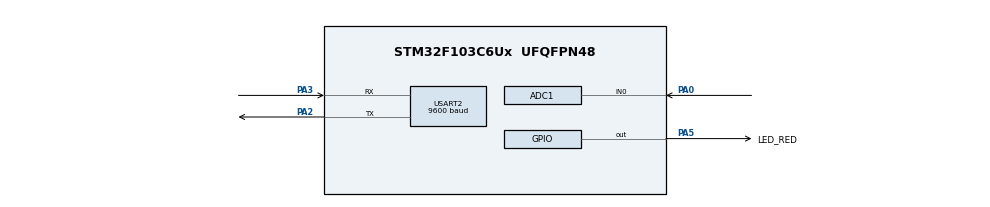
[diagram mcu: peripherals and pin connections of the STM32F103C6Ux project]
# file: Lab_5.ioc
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ADC1.Channel-0\#ChannelRegularConversion=ADC_CHANNEL_0
ADC1.ContinuousConvMode=ENABLE
ADC1.NbrOfConversionFlag=1
ADC1.Rank-0\#ChannelRegularConversion=1
ADC1.SamplingTime-0\#ChannelRegularConversion=ADC_SAMPLETIME_1CYCLE_5
ADC1.master=1
Mcu.Family=STM32F1
Mcu.Name=STM32F103C6Ux
Mcu.Package=UFQFPN48
NVIC.PriorityGroup=NVIC_PRIORITYGROUP_4
NVIC.TIM2_IRQn=true\:0\:0\:false\:false\:true\:true\:true\:true
NVIC.USART2_IRQn=true\:0\:0\:false\:false\:true\:true\:true\:true
PA0-WKUP.Signal=ADCx_IN0
PA2.Mode=Asynchronous
PA2.Signal=USART2_TX
PA3.Mode=Asynchronous
PA3.Signal=USART2_RX
PA5.GPIO_Label=LED_RED
PA5.Signal=GPIO_Output
ProjectManager.HeapSize=0x200
ProjectManager.StackSize=0x400
ProjectManager.TargetToolchain=STM32CubeIDE
RCC.APB1Freq_Value=8000000
RCC.APB2Freq_Value=8000000
SH.ADCx_IN0.0=ADC1_IN0,IN0
TIM2.Period=9
TIM2.Prescaler=7999
USART2.BaudRate=9600
USART2.VirtualMode=VM_ASYNC
VP_TIM2_VS_ClockSourceINT.Mode=Internal
board=custom

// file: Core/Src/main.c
/* USER CODE BEGIN Header */
/**
  ******************************************************************************
  * @file           : main.c
  * @brief          : Main program body
  ******************************************************************************
  * @attention
  *
  * Copyright (c) 2023 STMicroelectronics.
  * All rights reserved.
  *
  * This software is licensed under terms that can be found in the LICENSE file
  * in the root directory of this software component.
  * If no LICENSE file comes with this software, it is provided AS-IS.
  *
  ******************************************************************************
  */
/* USER CODE END Header */
#include "main.h"

/* USER CODE BEGIN Includes */
#include "software_timer.h"
#include <stdio.h>
/* USER CODE END Includes */

ADC_HandleTypeDef hadc1;

TIM_HandleTypeDef htim2;

UART_HandleTypeDef huart2;

void SystemClock_Config(void);
static void MX_GPIO_Init(void);
static void MX_ADC1_Init(void);
static void MX_USART2_UART_Init(void);
static void MX_TIM2_Init(void);

/* USER CODE BEGIN 0 */
void uart_communiation_fsm();
void command_paser_fsm();

#define MAX_BUFFER_SIZE 30
uint8_t buffer[MAX_BUFFER_SIZE];
uint8_t index_buffer = 0;
uint8_t buffer_flag = 0;

uint8_t data_flag = 0; //data ready for send
int state_RST = 0; // RST state ! -> R -> S -> T -> #
int state_OK = 0; // OK state ! -> O -> K -> #
uint32_t send_data[30]; // Data buffer
uint32_t ADC_value = 0;

uint8_t temp = 0;

void HAL_UART_RxCpltCallback(UART_HandleTypeDef*);

/* USER CODE END 0 */

int main(void)
{

  /* MCU Configuration--------------------------------------------------------*/

  /* Reset of all peripherals, Initializes the Flash interface and the Systick. */
  HAL_Init();

  /* Configure the system clock */
  SystemClock_Config();

  /* Initialize all configured peripherals */
  MX_GPIO_Init();
  MX_ADC1_Init();
  MX_USART2_UART_Init();
  MX_TIM2_Init();
  /* USER CODE BEGIN 2 */
  HAL_UART_Receive_IT (& huart2 , & temp , 1) ;
  HAL_TIM_Base_Start_IT (& htim2 ) ;
  HAL_ADC_Start(&hadc1);
  /* USER CODE END 2 */

  /* Infinite loop */
  while (1)
  {

    /* USER CODE BEGIN 3 */
	  if (buffer_flag) {
		  command_paser_fsm();
		  buffer_flag = 0;
	  }
	  uart_communiation_fsm();
  }
  /* USER CODE END 3 */
}

void SystemClock_Config(void)
{
  RCC_OscInitTypeDef RCC_OscInitStruct = {0};
  RCC_ClkInitTypeDef RCC_ClkInitStruct = {0};
  RCC_PeriphCLKInitTypeDef PeriphClkInit = {0};

  /** Initializes the RCC Oscillators according to the specified parameters
  * in the RCC_OscInitTypeDef structure.
  */
  RCC_OscInitStruct.OscillatorType = RCC_OSCILLATORTYPE_HSI;
  RCC_OscInitStruct.HSIState = RCC_HSI_ON;
  RCC_OscInitStruct.HSICalibrationValue = RCC_HSICALIBRATION_DEFAULT;
  RCC_OscInitStruct.PLL.PLLState = RCC_PLL_NONE;
  if (HAL_RCC_OscConfig(&RCC_OscInitStruct) != HAL_OK)
  {
    Error_Handler();
  }

  /** Initializes the CPU, AHB and APB buses clocks
  */
  RCC_ClkInitStruct.ClockType = RCC_CLOCKTYPE_HCLK|RCC_CLOCKTYPE_SYSCLK
                              |RCC_CLOCKTYPE_PCLK1|RCC_CLOCKTYPE_PCLK2;
  RCC_ClkInitStruct.SYSCLKSource = RCC_SYSCLKSOURCE_HSI;
  RCC_ClkInitStruct.AHBCLKDivider = RCC_SYSCLK_DIV1;
  RCC_ClkInitStruct.APB1CLKDivider = RCC_HCLK_DIV1;
  RCC_ClkInitStruct.APB2CLKDivider = RCC_HCLK_DIV1;

  if (HAL_RCC_ClockConfig(&RCC_ClkInitStruct, FLASH_LATENCY_0) != HAL_OK)
  {
    Error_Handler();
  }
  PeriphClkInit.PeriphClockSelection = RCC_PERIPHCLK_ADC;
  PeriphClkInit.AdcClockSelection = RCC_ADCPCLK2_DIV2;
  if (HAL_RCCEx_PeriphCLKConfig(&PeriphClkInit) != HAL_OK)
  {
    Error_Handler();
  }
}

static void MX_ADC1_Init(void)
{

  ADC_ChannelConfTypeDef sConfig = {0};

  /** Common config
  */
  hadc1.Instance = ADC1;
  hadc1.Init.ScanConvMode = ADC_SCAN_DISABLE;
  hadc1.Init.ContinuousConvMode = ENABLE;
  hadc1.Init.DiscontinuousConvMode = DISABLE;
  hadc1.Init.ExternalTrigConv = ADC_SOFTWARE_START;
  hadc1.Init.DataAlign = ADC_DATAALIGN_RIGHT;
  hadc1.Init.NbrOfConversion = 1;
  if (HAL_ADC_Init(&hadc1) != HAL_OK)
  {
    Error_Handler();
  }

  /** Configure Regular Channel
  */
  sConfig.Channel = ADC_CHANNEL_0;
  sConfig.Rank = ADC_REGULAR_RANK_1;
  sConfig.SamplingTime = ADC_SAMPLETIME_1CYCLE_5;
  if (HAL_ADC_ConfigChannel(&hadc1, &sConfig) != HAL_OK)
  {
    Error_Handler();
  }

}

static void MX_TIM2_Init(void)
{

  TIM_ClockConfigTypeDef sClockSourceConfig = {0};
  TIM_MasterConfigTypeDef sMasterConfig = {0};

  htim2.Instance = TIM2;
  htim2.Init.Prescaler = 7999;
  htim2.Init.CounterMode = TIM_COUNTERMODE_UP;
  htim2.Init.Period = 9;
  htim2.Init.ClockDivision = TIM_CLOCKDIVISION_DIV1;
  htim2.Init.AutoReloadPreload = TIM_AUTORELOAD_PRELOAD_DISABLE;
  if (HAL_TIM_Base_Init(&htim2) != HAL_OK)
  {
    Error_Handler();
  }
  sClockSourceConfig.ClockSource = TIM_CLOCKSOURCE_INTERNAL;
  if (HAL_TIM_ConfigClockSource(&htim2, &sClockSourceConfig) != HAL_OK)
  {
    Error_Handler();
  }
  sMasterConfig.MasterOutputTrigger = TIM_TRGO_RESET;
  sMasterConfig.MasterSlaveMode = TIM_MASTERSLAVEMODE_DISABLE;
  if (HAL_TIMEx_MasterConfigSynchronization(&htim2, &sMasterConfig) != HAL_OK)
  {
    Error_Handler();
  }

}

static void MX_USART2_UART_Init(void)
{

  huart2.Instance = USART2;
  huart2.Init.BaudRate = 9600;
  huart2.Init.WordLength = UART_WORDLENGTH_8B;
  huart2.Init.StopBits = UART_STOPBITS_1;
  huart2.Init.Parity = UART_PARITY_NONE;
  huart2.Init.Mode = UART_MODE_TX_RX;
  huart2.Init.HwFlowCtl = UART_HWCONTROL_NONE;
  huart2.Init.OverSampling = UART_OVERSAMPLING_16;
  if (HAL_UART_Init(&huart2) != HAL_OK)
  {
    Error_Handler();
  }

}

static void MX_GPIO_Init(void)
{
  GPIO_InitTypeDef GPIO_InitStruct = {0};

  /* GPIO Ports Clock Enable */
  __HAL_RCC_GPIOA_CLK_ENABLE();

  /*Configure GPIO pin Output Level */
  HAL_GPIO_WritePin(LED_RED_GPIO_Port, LED_RED_Pin, GPIO_PIN_RESET);

  /*Configure GPIO pin : LED_RED_Pin */
  GPIO_InitStruct.Pin = LED_RED_Pin;
  GPIO_InitStruct.Mode = GPIO_MODE_OUTPUT_PP;
  GPIO_InitStruct.Pull = GPIO_NOPULL;
  GPIO_InitStruct.Speed = GPIO_SPEED_FREQ_LOW;
  HAL_GPIO_Init(LED_RED_GPIO_Port, &GPIO_InitStruct);

}

/* USER CODE BEGIN 4 */

void HAL_TIM_PeriodElapsedCallback(TIM_HandleTypeDef *htim) {
	timerRun(0);
}

void HAL_UART_RxCpltCallback(UART_HandleTypeDef *huart) {
	if (huart->Instance == USART2) {
		buffer[index_buffer++] = temp;
		HAL_UART_Transmit (& huart2 , & temp , 1 , 50) ;
		if (index_buffer == 30)
			index_buffer = 0;
		buffer_flag = 1;
		HAL_UART_Receive_IT(&huart2, &temp, 1);
	}
}

void uart_communiation_fsm() {
	switch (data_flag) {
	case 0: //OFF
		ADC_value = HAL_ADC_GetValue(&hadc1);
		break;
	case 1:
		if (timer_flag[0] == 1) {
			HAL_GPIO_TogglePin(LED_RED_GPIO_Port, LED_RED_Pin);
			setTimer(300, 0);
			sprintf((char*) send_data, "\r\n!ADC=%ld#\r\n", ADC_value);
			HAL_UART_Transmit(&huart2, (uint8_t*) send_data, 30, 500);
		}
		break;
	default:
		break;
	}
}

void command_paser_fsm() {
	int index = index_buffer - 1;
	if (index < 0)
		index = 29;
	switch ((char) buffer[index_buffer - 1]) {
		case '!':
			state_RST = 1;
			state_OK = 1;
			break;
		///////Pattern 1 : RST
		case 'R':
			state_RST = (state_RST==1)?2:0;
			break;
		case 'S':
			state_RST = (state_RST==2)?3:0;
			break;
		case 'T':
			state_RST = (state_RST==3)?4:0;
			break;
		///////Pattern 2 : OK
		case 'O':
			state_OK = (state_OK==1)?2:0;
			break;
		case 'K':
			state_OK = (state_OK==2)?3:0;
			break;
		case '#':
			if(state_RST == 4)
			{
				data_flag = 1;
				timer_flag[0] = 1;
			}
			else
				state_RST = 0;

			if (state_OK == 3)
			{
				data_flag = 0;
			}
			break;
		default:
			break;
	}
}

/* USER CODE END 4 */

void Error_Handler(void)
{
  __disable_irq();
  while (1)
  {
  }
}
